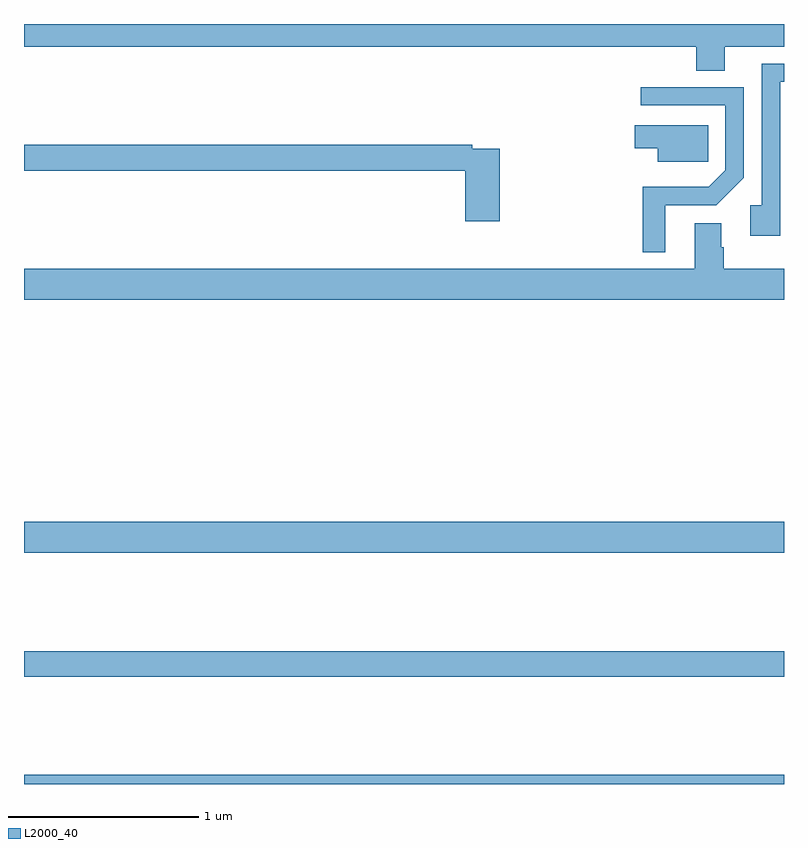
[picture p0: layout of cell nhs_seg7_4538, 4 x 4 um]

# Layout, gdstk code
import gdstk
lib = gdstk.Library(unit=1e-6, precision=1e-09)
def R(c, l, rs):  # rectangles x0, y0, x1, y1
    for r in rs: c.add(gdstk.rectangle(r[:2], r[2:], *l))
def P(c, l, *ps):  # polygons
    for p in ps: c.add(gdstk.Polygon(p, *l))
L2000_40 = (2000, 40)

nhs_seg7_4538 = lib.new_cell('nhs_seg7_4538')
R(nhs_seg7_4538, L2000_40, [(395,1066,399,1066.048), (395,1066.564,399,1066.7), (395,1067.216,399,1067.38)])
P(nhs_seg7_4538, L2000_40, [(395,1069.88),(398.537,1069.88),(398.537,1069.753),(398.689,1069.753),(398.689,1069.88),(399,1069.88),(399,1070),(395,1070)],
  [(398.979,1069.695),(399,1069.695),(399,1069.791),(398.883,1069.791),(398.883,1069.046),(398.823,1069.046),(398.823,1068.885),(398.979,1068.885)],
  [(398.374,1069.047),(398.644,1069.047),(398.787,1069.19),(398.787,1069.668),(398.247,1069.668),(398.247,1069.572),(398.691,1069.572),(398.691,1069.23),(398.605,1069.144),(398.257,1069.144),(398.257,1068.798),(398.374,1068.798)],
  [(398.601,1069.468),(398.214,1069.468),(398.214,1069.346),(398.336,1069.346),(398.336,1069.274),(398.601,1069.274)],
  [(397.505,1069.344),(397.358,1069.344),(397.358,1069.364),(395,1069.364),(395,1069.228),(397.322,1069.228),(397.322,1068.963),(397.505,1068.963)],
  [(399,1068.712),(398.684,1068.712),(398.684,1068.824),(398.671,1068.824),(398.671,1068.952),(398.531,1068.952),(398.531,1068.712),(395,1068.712),(395,1068.548),(399,1068.548)])

lib.write_gds('nhs_seg7_4538.gds')
